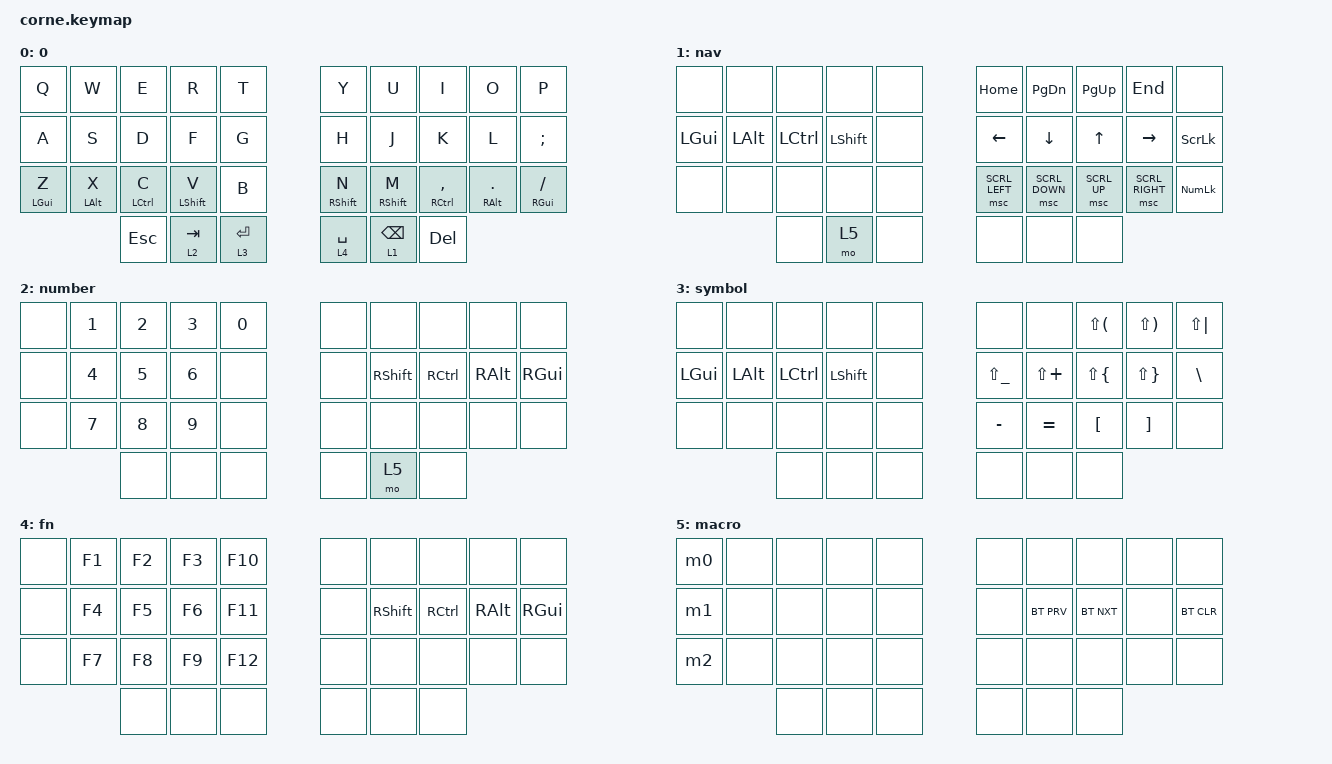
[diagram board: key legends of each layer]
/*
 * Copyright (c) 2020 The ZMK Contributors
 *
 * SPDX-License-Identifier: MIT
 */

#include <behaviors.dtsi>
#include <dt-bindings/zmk/bt.h>
#include <dt-bindings/zmk/keys.h>
#include <dt-bindings/zmk/pointing.h>

#define DEFAULT_L 0
#define SYMBOLS_L 1
#define ARROWS_L  2
#define NUMBERS_L 3

/ {
    chosen { zmk,matrix_transform = &five_column_transform; };

    behaviors {
        hm: homerow_mods {
            compatible = "zmk,behavior-hold-tap";
            label = "HOMEROW_MODS";
            #binding-cells = <2>;
            tapping-term-ms = <300>;
            quick-tap-ms = <200>;
            flavor = "balanced";
            bindings = <&kp>, <&kp>;

            require-prior-idle-ms = <125>;
        };
    };

    combos {
        compatible = "zmk,combos";

        grave {
            bindings = <&kp GRAVE>;
            key-positions = <27 28>;
        };

        quote {
            bindings = <&kp SQT>;
            key-positions = <26 27>;
        };
    };

    macros {
        m0: m0 {
            compatible = "zmk,behavior-macro";
            #binding-cells = <0>;
            bindings = <&none &kp LS(N) &kp O &kp K &kp U &kp L &kp O &kp S &kp QMARK &kp N6 &kp N2 &kp ENTER>;
            label = "M0";
        };

        m1: m1 {
            compatible = "zmk,behavior-macro";
            #binding-cells = <0>;
            bindings = <&none &kp LS(T) &kp U &kp D &kp I &kp L &kp O &kp H &kp U &kp F &kp DLLR &kp N4 &kp N9 &kp ENTER>;
            label = "M1";
        };

        m2: m2 {
            compatible = "zmk,behavior-macro";
            #binding-cells = <0>;
            bindings = <&none &kp B &kp E &kp R &kp O &kp X &kp MINUS &kp F &kp O &kp O &kp MINUS &kp N9 &kp N0 &kp N1 &kp N7 &kp RET>;
            label = "M2";
        };
    };

    keymap {
        compatible = "zmk,keymap";

        base {
            label = "0";
            bindings = <
  &kp Q           &kp W           &kp E               &kp R             &kp T          &kp Y              &kp U              &kp I                    &kp O              &kp P
  &kp A           &kp S           &kp D               &kp F             &kp G          &kp H              &kp J              &kp K                    &kp L              &kp SEMI
  &hm LEFT_GUI Z  &hm LEFT_ALT X  &hm LEFT_CONTROL C  &hm LEFT_SHIFT V  &kp B          &hm RIGHT_SHIFT N  &hm RIGHT_SHIFT M  &hm RIGHT_CONTROL COMMA  &hm RIGHT_ALT DOT  &hm RIGHT_GUI FSLH
                                  &kp ESC             &lt 2 TAB         &lt 3 ENTER    &lt 4 SPACE        &lt 1 BACKSPACE    &kp DEL
            >;
        };

        nav {
            bindings = <
  &none     &none     &none      &none      &none    &kp HOME        &kp PAGE_DOWN   &kp PAGE_UP   &kp END          &none
  &kp LGUI  &kp LALT  &kp LCTRL  &kp LSHFT  &none    &kp LEFT        &kp DOWN        &kp UP        &kp RIGHT        &kp SCROLLLOCK
  &none     &none     &none      &none      &none    &msc SCRL_LEFT  &msc SCRL_DOWN  &msc SCRL_UP  &msc SCRL_RIGHT  &kp KP_NUMLOCK
                      &none      &mo 5      &none    &none           &none           &none
            >;
        };

        number {
            bindings = <
  &none  &kp N1  &kp N2  &kp N3  &kp N0    &none  &none      &none      &none     &none
  &none  &kp N4  &kp N5  &kp N6  &none     &none  &kp RSHFT  &kp RCTRL  &kp RALT  &kp RGUI
  &none  &kp N7  &kp N8  &kp N9  &none     &none  &none      &none      &none     &none
                 &none   &none   &none     &none  &mo 5      &none
            >;
        };

        symbol {
            bindings = <
  &none     &none     &none      &none      &none    &none          &none         &kp LS(LPAR)  &kp LS(RPAR)  &kp LS(PIPE)
  &kp LGUI  &kp LALT  &kp LCTRL  &kp LSHFT  &none    &kp LS(UNDER)  &kp LS(PLUS)  &kp LS(LBRC)  &kp LS(RBRC)  &kp BSLH
  &none     &none     &none      &none      &none    &kp MINUS      &kp EQUAL     &kp LBKT      &kp RBKT      &none
                      &none      &none      &none    &none          &none         &none
            >;
        };

        fn {
            bindings = <
  &none  &kp F1  &kp F2  &kp F3  &kp F10    &none  &none      &none      &none     &none
  &none  &kp F4  &kp F5  &kp F6  &kp F11    &none  &kp RSHFT  &kp RCTRL  &kp RALT  &kp RGUI
  &none  &kp F7  &kp F8  &kp F9  &kp F12    &none  &none      &none      &none     &none
                 &none   &none   &none      &none  &none      &none
            >;
        };

        macro {
            bindings = <
  &m0  &none  &none  &none  &none    &none  &none       &none       &none  &none
  &m1  &none  &none  &none  &none    &none  &bt BT_PRV  &bt BT_NXT  &none  &bt BT_CLR
  &m2  &none  &none  &none  &none    &none  &none       &none       &none  &none
              &none  &none  &none    &none  &none       &none
            >;
        };
    };

    conditional_layers { compatible = "zmk,conditional-layers"; };
};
